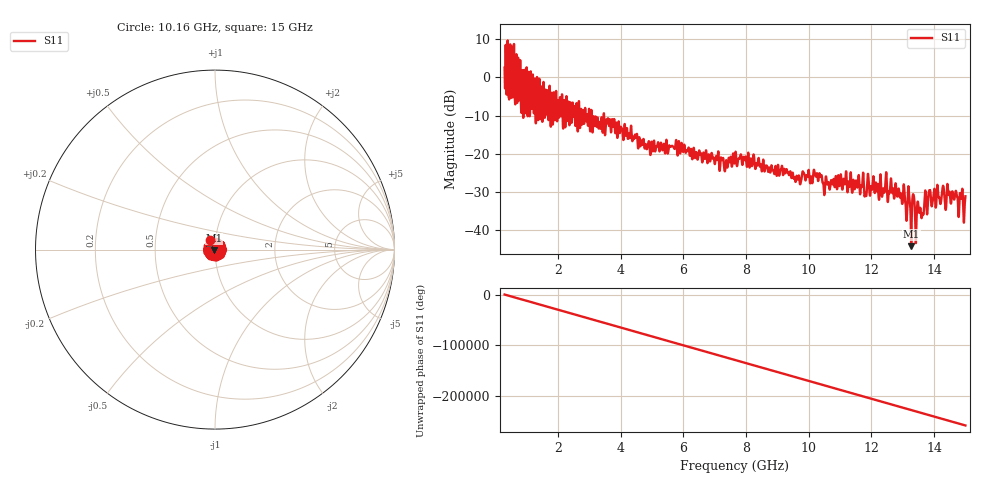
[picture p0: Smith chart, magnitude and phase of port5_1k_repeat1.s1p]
# GHZ S RI R 50.0
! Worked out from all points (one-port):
!   12801 points, 300 MHz to 15 GHz, reference 50 ohm
!   lowest |S11| = -44.1 dB at 13.27 GHz (marker M1), VSWR 1.01, Z = 49.5 - j0.343 ohm
!   |S11| at or under -10 dB: 3.004 GHz to 3.06 GHz (56.02 MHz wide, 1.85 % of centre); 3.078 GHz to 3.461 GHz (382.8 MHz wide, 11.7 % of centre); 3.473 GHz to end of sweep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
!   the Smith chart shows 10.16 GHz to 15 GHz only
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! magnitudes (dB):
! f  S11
! 300 MHz  2.6
! 494.1 MHz  -2.5
! 538.9 MHz  1.7
! 696.2 MHz  -6.3
! 736.4 MHz  1.8
! 900.6 MHz  -10.2
! 1.197 GHz  -0.2
! 1.311 GHz  -10.3
! 1.602 GHz  -4.7
! 1.83 GHz  -11.8
! 2.138 GHz  -5.6
! 3.975 GHz  -14.6
! 4.896 GHz  -16.7
! 5.812 GHz  -20.3
! 7.359 GHz  -22.0
! 7.65 GHz  -21.3
! 9.488 GHz  -24.9
! 10.21 GHz  -25.6
! 10.52 GHz  -28.5
! 11.32 GHz  -26.5
! 12.38 GHz  -29.0
! 12.43 GHz  -29.3
! 13.16 GHz  -30.7
! 13.27 GHz  -44.1
! 13.6 GHz  -36.8
! 13.78 GHz  -35.8
! 14.28 GHz  -28.6
! 15 GHz  -31.1
